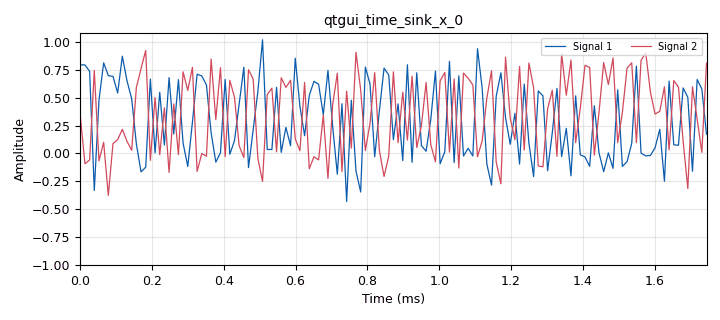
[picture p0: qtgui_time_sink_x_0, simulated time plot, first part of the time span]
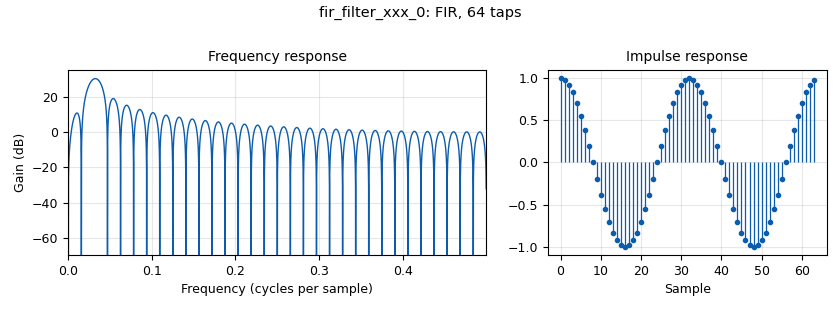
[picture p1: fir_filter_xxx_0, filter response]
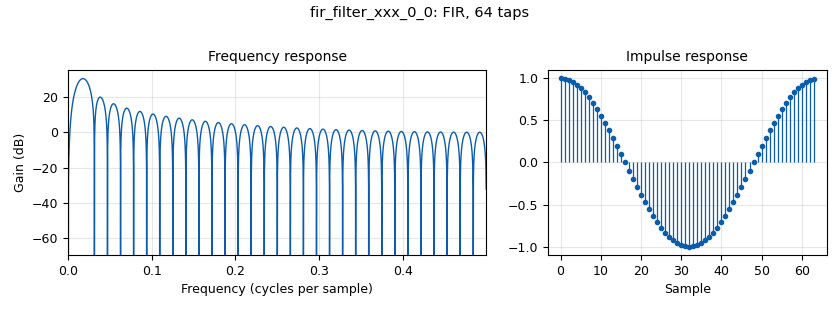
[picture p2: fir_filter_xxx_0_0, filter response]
options:
  parameters:
    author: Abrar Ahmad
    generate_options: qt_gui
    id: ECE512_Lab3
    output_language: python
    title: BFSK-Tx
  states: {}

blocks:
- name: deviation
  id: variable
  parameters:
    value: '600'
  states: {}
- name: eb_n0_db
  id: variable
  parameters:
    value: '10'
  states: {}
- name: fc
  id: variable
  parameters:
    value: '1800'
  states: {}
- name: samp_rate
  id: variable
  parameters:
    value: '76800'
  states: {}
- name: sig_pwr
  id: variable
  parameters:
    value: '1'
  states: {}
- name: symbol_rate
  id: variable
  parameters:
    value: '1200'
  states: {}
- name: analog_frequency_modulator_fc_0
  id: analog_frequency_modulator_fc
  parameters:
    sensitivity: 2*math.pi*deviation/samp_rate
  states: {}
- name: analog_noise_source_x_1
  id: analog_noise_source_x
  parameters:
    amp: math.sqrt( sig_pwr/ (10**(eb_n0_db/10)) * samp_rate/symbol_rate * 1/2 )
    noise_type: analog.GR_GAUSSIAN
    seed: '0'
    type: complex
  states: {}
- name: analog_sig_source_x_1
  id: analog_sig_source_x
  parameters:
    amp: '1'
    freq: fc
    offset: '0'
    phase: '0'
    samp_rate: samp_rate
    type: complex
    waveform: analog.GR_COS_WAVE
  states: {}
- name: blocks_add_const_vxx_0
  id: blocks_add_const_vxx
  parameters:
    const: '-1'
    type: float
  states: {}
- name: blocks_add_xx_0
  id: blocks_add_xx
  parameters:
    type: complex
  states: {}
- name: blocks_char_to_float_0
  id: blocks_char_to_float
  parameters:
    scale: '0.5'
  states: {}
- name: blocks_complex_to_real_0
  id: blocks_complex_to_real
  parameters: {}
  states: {}
- name: blocks_keep_one_in_n_0
  id: blocks_keep_one_in_n
  parameters:
    n: int(samp_rate/symbol_rate)
    type: float
  states: {}
- name: blocks_keep_one_in_n_1
  id: blocks_keep_one_in_n
  parameters:
    n: int(samp_rate/symbol_rate)
    type: float
  states: {}
- name: blocks_multiply_const_vxx_0
  id: blocks_multiply_const_vxx
  parameters:
    const: 1/math.sqrt(2/(1/symbol_rate))
    type: float
  states: {}
- name: blocks_multiply_const_vxx_0_0
  id: blocks_multiply_const_vxx
  parameters:
    const: 1/math.sqrt(2/(1/symbol_rate))
    type: float
  states: {}
- name: blocks_multiply_xx_1
  id: blocks_multiply_xx
  parameters:
    type: complex
  states: {}
- name: blocks_pack_k_bits_bb_0
  id: blocks_pack_k_bits_bb
  parameters:
    k: '8'
  states: {}
- name: blocks_pack_k_bits_bb_0_0
  id: blocks_pack_k_bits_bb
  parameters:
    k: '8'
  states: {}
- name: blocks_repeat_0
  id: blocks_repeat
  parameters:
    interp: int(samp_rate/symbol_rate)
    type: float
  states: {}
- name: blocks_sub_xx_0
  id: blocks_sub_xx
  parameters:
    type: float
  states: {}
- name: blocks_throttle2_1
  id: blocks_throttle2
  parameters:
    samples_per_second: samp_rate
    type: complex
  states: {}
- name: digital_binary_slicer_fb_0
  id: digital_binary_slicer_fb
  parameters: {}
  states: {}
- name: digital_glfsr_source_x_0
  id: digital_glfsr_source_x
  parameters:
    degree: '20'
    mask: '0'
    repeat: 'True'
    seed: '1'
    type: byte
  states: {}
- name: fec_ber_bf_0
  id: fec_ber_bf
  parameters:
    test_mode: 'False'
  states: {}
- name: fir_filter_xxx_0
  id: fir_filter_xxx
  parameters:
    decim: '1'
    taps: np.cos(2*np.pi*(fc+deviation)*np.arange(0, symbol_rate**-1, samp_rate**-1))
    type: fff
  states: {}
- name: fir_filter_xxx_0_0
  id: fir_filter_xxx
  parameters:
    decim: '1'
    taps: np.cos(2*np.pi*(fc-deviation)*np.arange(0, symbol_rate**-1, samp_rate**-1))
    type: fff
  states: {}
- name: import_0
  id: import
  parameters:
    imports: import math
  states: {}
- name: import_0_0
  id: import
  parameters:
    imports: import numpy as np
  states: {}
- name: qtgui_number_sink_0
  id: qtgui_number_sink
  parameters:
    graph_type: qtgui.NUM_GRAPH_HORIZ
    type: float
  states: {}
- name: qtgui_time_sink_x_0
  id: qtgui_time_sink_x
  parameters:
    ctrlpanel: 'True'
    nconnections: '2'
    size: '1024'
    srate: samp_rate
    type: float
  states: {}
- name: virtual_sink_0
  id: virtual_sink
  parameters: {}
  states: {}
- name: virtual_source_0
  id: virtual_source
  parameters: {}
  states: {}

connections:
- [analog_frequency_modulator_fc_0, '0', blocks_add_xx_0, '1']
- [analog_noise_source_x_1, '0', blocks_throttle2_1, '0']
- [analog_sig_source_x_1, '0', blocks_multiply_xx_1, '1']
- [blocks_add_const_vxx_0, '0', blocks_repeat_0, '0']
- [blocks_add_xx_0, '0', blocks_multiply_xx_1, '0']
- [blocks_char_to_float_0, '0', blocks_add_const_vxx_0, '0']
- [blocks_complex_to_real_0, '0', virtual_sink_0, '0']
- [blocks_keep_one_in_n_0, '0', blocks_sub_xx_0, '0']
- [blocks_keep_one_in_n_0, '0', qtgui_time_sink_x_0, '0']
- [blocks_keep_one_in_n_1, '0', blocks_sub_xx_0, '1']
- [blocks_keep_one_in_n_1, '0', qtgui_time_sink_x_0, '1']
- [blocks_multiply_const_vxx_0, '0', blocks_keep_one_in_n_0, '0']
- [blocks_multiply_const_vxx_0_0, '0', blocks_keep_one_in_n_1, '0']
- [blocks_multiply_xx_1, '0', blocks_complex_to_real_0, '0']
- [blocks_pack_k_bits_bb_0, '0', fec_ber_bf_0, '0']
- [blocks_pack_k_bits_bb_0_0, '0', fec_ber_bf_0, '1']
- [blocks_repeat_0, '0', analog_frequency_modulator_fc_0, '0']
- [blocks_sub_xx_0, '0', digital_binary_slicer_fb_0, '0']
- [blocks_throttle2_1, '0', blocks_add_xx_0, '0']
- [digital_binary_slicer_fb_0, '0', blocks_pack_k_bits_bb_0_0, '0']
- [digital_glfsr_source_x_0, '0', blocks_char_to_float_0, '0']
- [digital_glfsr_source_x_0, '0', blocks_pack_k_bits_bb_0, '0']
- [fec_ber_bf_0, '0', qtgui_number_sink_0, '0']
- [fir_filter_xxx_0, '0', blocks_multiply_const_vxx_0, '0']
- [fir_filter_xxx_0_0, '0', blocks_multiply_const_vxx_0_0, '0']
- [virtual_source_0, '0', fir_filter_xxx_0, '0']
- [virtual_source_0, '0', fir_filter_xxx_0_0, '0']

metadata:
  file_format: 1
  grc_version: 3.10.10.0
